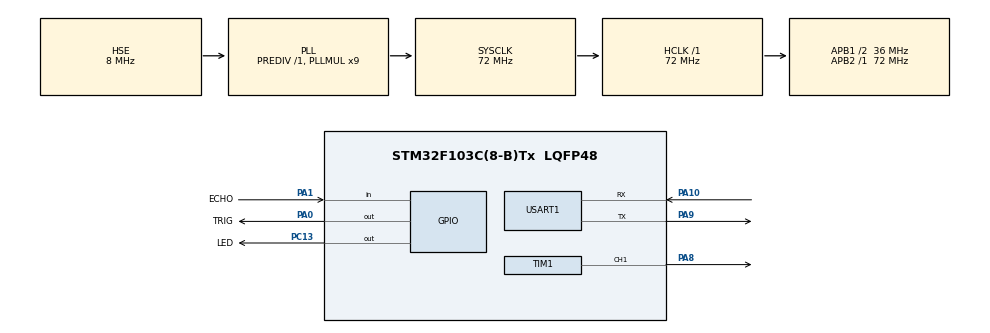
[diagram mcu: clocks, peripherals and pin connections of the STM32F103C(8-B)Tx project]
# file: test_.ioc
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Dma.Request0=TIM1_CH1
Dma.TIM1_CH1.0.Direction=DMA_MEMORY_TO_PERIPH
Dma.TIM1_CH1.0.Instance=DMA1_Channel2
Dma.TIM1_CH1.0.MemDataAlignment=DMA_MDATAALIGN_HALFWORD
Dma.TIM1_CH1.0.MemInc=DMA_MINC_ENABLE
Dma.TIM1_CH1.0.Mode=DMA_NORMAL
Dma.TIM1_CH1.0.PeriphDataAlignment=DMA_PDATAALIGN_HALFWORD
Dma.TIM1_CH1.0.PeriphInc=DMA_PINC_DISABLE
Dma.TIM1_CH1.0.Priority=DMA_PRIORITY_LOW
Mcu.Family=STM32F1
Mcu.Name=STM32F103C(8-B)Tx
Mcu.Package=LQFP48
NVIC.DMA1_Channel2_IRQn=true\:0\:0\:false\:false\:true\:false\:true\:true
NVIC.PriorityGroup=NVIC_PRIORITYGROUP_4
NVIC.TIM4_IRQn=true\:0\:0\:false\:false\:true\:true\:true\:true
NVIC.USART1_IRQn=true\:0\:0\:false\:false\:true\:true\:true\:true
PA0-WKUP.GPIO_Label=TRIG
PA0-WKUP.Signal=GPIO_Output
PA1.GPIO_Label=ECHO
PA1.Signal=GPIO_Input
PA10.Mode=Asynchronous
PA10.Signal=USART1_RX
PA13.Mode=Serial_Wire
PA13.Signal=SYS_JTMS-SWDIO
PA14.Mode=Serial_Wire
PA14.Signal=SYS_JTCK-SWCLK
PA8.Signal=S_TIM1_CH1
PA9.Mode=Asynchronous
PA9.Signal=USART1_TX
PC13-TAMPER-RTC.GPIO_Label=LED
PC13-TAMPER-RTC.Signal=GPIO_Output
PC14-OSC32_IN.Mode=LSE-External-Oscillator
PC14-OSC32_IN.Signal=RCC_OSC32_IN
PC15-OSC32_OUT.Mode=LSE-External-Oscillator
PC15-OSC32_OUT.Signal=RCC_OSC32_OUT
PD0-OSC_IN.Mode=HSE-External-Oscillator
PD0-OSC_IN.Signal=RCC_OSC_IN
PD1-OSC_OUT.Mode=HSE-External-Oscillator
PD1-OSC_OUT.Signal=RCC_OSC_OUT
ProjectManager.HeapSize=0x200
ProjectManager.StackSize=0x400
ProjectManager.TargetToolchain=Makefile
RCC.AHBFreq_Value=72000000
RCC.APB1CLKDivider=RCC_HCLK_DIV2
RCC.APB1Freq_Value=36000000
RCC.APB1TimFreq_Value=72000000
RCC.APB2Freq_Value=72000000
RCC.APB2TimFreq_Value=72000000
RCC.HCLKFreq_Value=72000000
RCC.PLLMUL=RCC_PLL_MUL9
RCC.PLLSourceVirtual=RCC_PLLSOURCE_HSE
RCC.SYSCLKFreq_VALUE=72000000
RCC.SYSCLKSource=RCC_SYSCLKSOURCE_PLLCLK
RCC.USBFreq_Value=72000000
SH.S_TIM1_CH1.0=TIM1_CH1,PWM Generation1 CH1
TIM1.Channel-PWM\ Generation1\ CH1=TIM_CHANNEL_1
TIM1.Period=3
TIM1.Prescaler=28
TIM4.Period=1
TIM4.Prescaler=71
USART1.VirtualMode=VM_ASYNC
VP_TIM4_VS_ClockSourceINT.Mode=Internal
board=custom

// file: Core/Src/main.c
/* USER CODE BEGIN Header */
/**
 ******************************************************************************
 * @file           : main.c
 * @brief          : Main program body
 ******************************************************************************
 * @attention
 *
 * Copyright (c) 2022 STMicroelectronics.
 * All rights reserved.
 *
 * This software is licensed under terms that can be found in the LICENSE file
 * in the root directory of this software component.
 * If no LICENSE file comes with this software, it is provided AS-IS.
 *
 ******************************************************************************
 */
/* USER CODE END Header */
#include "main.h"
#include "dma.h"
#include "tim.h"
#include "usart.h"
#include "gpio.h"

/* USER CODE BEGIN Includes */
#include "rgb_led.h"
#include "stdlib.h"
#include "stdio.h"
/* USER CODE END Includes */

/* USER CODE BEGIN PV */
uint32_t answer = 0;
uint8_t sim = 0;
uint8_t console_flag = 0;
uint8_t console_buff[100] = {};
/* USER CODE END PV */

void SystemClock_Config(void);

/* USER CODE BEGIN 0 */
int _write(int file, char *ptr, int len)
{
  for (int i = 0; i < len; i++)
    HAL_UART_Transmit(&huart1, (uint8_t *)ptr++, 1, 100);
  return len;
}
/* USER CODE END 0 */

int main(void)
{

  /* MCU Configuration--------------------------------------------------------*/

  /* Reset of all peripherals, Initializes the Flash interface and the Systick. */
  HAL_Init();

  /* Configure the system clock */
  SystemClock_Config();

  /* Initialize all configured peripherals */
  MX_GPIO_Init();
  MX_DMA_Init();
  MX_TIM1_Init();
  MX_TIM4_Init();
  MX_USART1_UART_Init();

  /* Infinite loop */
  /* USER CODE BEGIN WHILE */

  HAL_TIM_Base_Start_IT(&htim4);
  HAL_UART_Receive_IT(&huart1, &sim, 1);
  uint8_t test = 0;

  HAL_Delay(100);
  ws2812_clean();
  uint8_t color[3] = {};
  uint8_t *color_str[3] = {};
  while (1)
  {

    if (console_flag)
    {
      uint8_t j = 0;
      uint8_t flag = 0;
      console_flag = 0;
      if (*console_buff == 'w')
      {
        for (int i = 1; i < strlen(console_buff); i++)
        {
          if (console_buff[i] != ' ')
          {
            if (!flag)
            {
              color_str[j++] = &console_buff[i];
              flag = 1;
            }
          }
          else
            flag = 0;
        }
        color[0] = atoi(color_str[0]);
        color[1] = atoi(color_str[1]);
        color[2] = atoi(color_str[2]);
        //printf("dick --> R:%d; G:%d, B:%d.\r\n", color[0], color[1], color[2]);
      }
    }

    for (uint16_t i = 0; i < 22; i++)
      ws2812_pixel_set(color[0], color[1], color[2], i);
    ws2812_pixel_show();

    HAL_GPIO_TogglePin(LED_GPIO_Port, LED_Pin);
    HAL_Delay(100);

    /* USER CODE END WHILE */

  }
}

void SystemClock_Config(void)
{
  RCC_OscInitTypeDef RCC_OscInitStruct = {0};
  RCC_ClkInitTypeDef RCC_ClkInitStruct = {0};

  /** Initializes the RCC Oscillators according to the specified parameters
   * in the RCC_OscInitTypeDef structure.
   */
  RCC_OscInitStruct.OscillatorType = RCC_OSCILLATORTYPE_HSE;
  RCC_OscInitStruct.HSEState = RCC_HSE_ON;
  RCC_OscInitStruct.HSEPredivValue = RCC_HSE_PREDIV_DIV1;
  RCC_OscInitStruct.HSIState = RCC_HSI_ON;
  RCC_OscInitStruct.PLL.PLLState = RCC_PLL_ON;
  RCC_OscInitStruct.PLL.PLLSource = RCC_PLLSOURCE_HSE;
  RCC_OscInitStruct.PLL.PLLMUL = RCC_PLL_MUL9;
  if (HAL_RCC_OscConfig(&RCC_OscInitStruct) != HAL_OK)
  {
    Error_Handler();
  }

  /** Initializes the CPU, AHB and APB buses clocks
   */
  RCC_ClkInitStruct.ClockType = RCC_CLOCKTYPE_HCLK | RCC_CLOCKTYPE_SYSCLK | RCC_CLOCKTYPE_PCLK1 | RCC_CLOCKTYPE_PCLK2;
  RCC_ClkInitStruct.SYSCLKSource = RCC_SYSCLKSOURCE_PLLCLK;
  RCC_ClkInitStruct.AHBCLKDivider = RCC_SYSCLK_DIV1;
  RCC_ClkInitStruct.APB1CLKDivider = RCC_HCLK_DIV2;
  RCC_ClkInitStruct.APB2CLKDivider = RCC_HCLK_DIV1;

  if (HAL_RCC_ClockConfig(&RCC_ClkInitStruct, FLASH_LATENCY_2) != HAL_OK)
  {
    Error_Handler();
  }
}

/* USER CODE BEGIN 4 */

void HAL_UART_RxCpltCallback(UART_HandleTypeDef *huart)
{
  if (huart->Instance == USART1)
  {
    static uint8_t i = 0;
    if (sim == '\r')
    {
      console_buff[i] = '\0';
      console_flag = 1;
      i = 0;
      //HAL_UART_Transmit(&huart1, "\r\n", 2, 100);
    }
    else
    {
      console_buff[i++] = sim;
      //HAL_UART_Transmit(&huart1, &sim, 1, 100);
    }

    HAL_UART_Receive_IT(&huart1, &sim, 1);
  }
}

enum sonar_state
{
  bisy,
  trig,
  wait,
  echo
} s_state = bisy;

uint32_t count = 10 * 1000; // 10ms
uint32_t duration = 0;

void HAL_TIM_PeriodElapsedCallback(TIM_HandleTypeDef *htim)
{
  if (htim->Instance == TIM4)
  {
    switch (s_state)
    {
    case bisy:
      if (count-- == 0)
      {
        count = 10; // 10 mks
        s_state = trig;
      }
      break;

    case trig:
      HAL_GPIO_WritePin(TRIG_GPIO_Port, TRIG_Pin, 1);
      if (count-- == 0)
      {
        count = 10 * 1000; // 10 ms
        s_state = wait;
      }
      break;

    case wait:
      HAL_GPIO_WritePin(TRIG_GPIO_Port, TRIG_Pin, 0);
      if (HAL_GPIO_ReadPin(ECHO_GPIO_Port, ECHO_Pin) == 1)
        s_state = echo;
      break;

    case echo:
      duration++;
      if (HAL_GPIO_ReadPin(ECHO_GPIO_Port, ECHO_Pin) == 0)
      {
        s_state = bisy;
        answer = (duration / 2) / 29;
        duration = 0;
      }
      break;

    default:
      break;
    }
  }
}

/* USER CODE END 4 */

void Error_Handler(void)
{
  __disable_irq();
  while (1)
  {
  }
}
